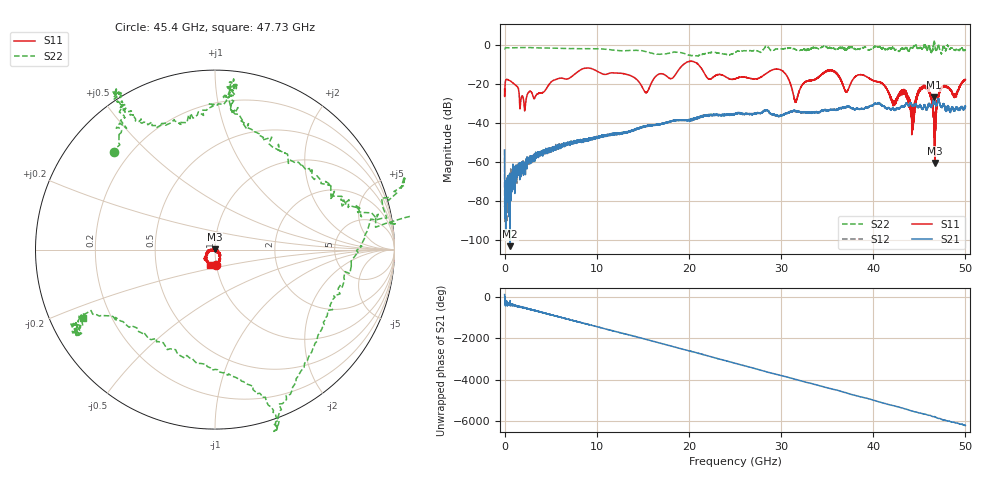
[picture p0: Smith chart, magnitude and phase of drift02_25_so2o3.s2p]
!Created with skrf (http://scikit-rf.org).
# Hz S RI R 50.0
!freq ReS11 ImS11 ReS21 ImS21 ReS12 ImS12 ReS22 ImS22
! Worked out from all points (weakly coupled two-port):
!   10001 points, 300 kHz to 50 GHz, reference 50 ohm
!   highest |S21| = -26.90 dB at 46.6 GHz (marker M1); lowest = -103.0 dB at 595.3 MHz (marker M2)
!   lowest |S11| = -60.5 dB at 46.68 GHz (marker M3), VSWR 1.00, Z = 49.9 + j0.0698 ohm
!   |S11| at or under -10 dB: start of sweep to 19.42 GHz; 21.01 GHz to end of sweep
!   |S22| runs from -5.7 to 2.3 dB; largest |S21 - S12| = 0.0038
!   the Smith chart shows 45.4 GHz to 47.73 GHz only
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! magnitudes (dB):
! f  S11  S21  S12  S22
! 300 kHz  -22.7  -53.8  -53.6  -2.1
! 255.3 MHz  -17.6  -74.2  -71.2  -1.4
! 595.3 MHz  -18.4  -103.0  -65.8  -1.5
! 2.18 GHz  -33.6  -62.8  -63.4  -1.3
! 8.335 GHz  -12.5  -49.7  -49.5  -1.9
! 15.34 GHz  -24.5  -41.5  -41.6  -3.4
! 16.67 GHz  -15.1  -40.6  -40.7  -4.7
! 20.29 GHz  -8.4  -38.4  -37.9  -5.6
! 25 GHz  -17.3  -35.3  -35.5  -3.9
! 29.85 GHz  -12.6  -36.1  -36.5  -2.0
! 31.59 GHz  -29.4  -33.9  -34.0  -2.4
! 33.34 GHz  -18.0  -34.6  -34.5  -1.6
! 35.59 GHz  -13.3  -33.2  -33.3  -1.6
! 37.1 GHz  -24.1  -31.8  -31.6  -2.1
! 38.76 GHz  -15.3  -32.5  -32.6  -1.0
! 41.67 GHz  -24.6  -32.1  -32.3  -1.8
! 44.27 GHz  -35.3  -31.1  -31.1  -1.5
! 45.7 GHz  -21.8  -32.2  -32.2  -0.7
! 46.6 GHz  -42.7  -26.9  -26.8  1.9
! 46.68 GHz  -60.5  -28.7  -28.8  0.0
! 47.46 GHz  -21.6  -31.8  -32.0  -3.6
! 50 GHz  -17.7  -31.6  -31.4  -2.7
